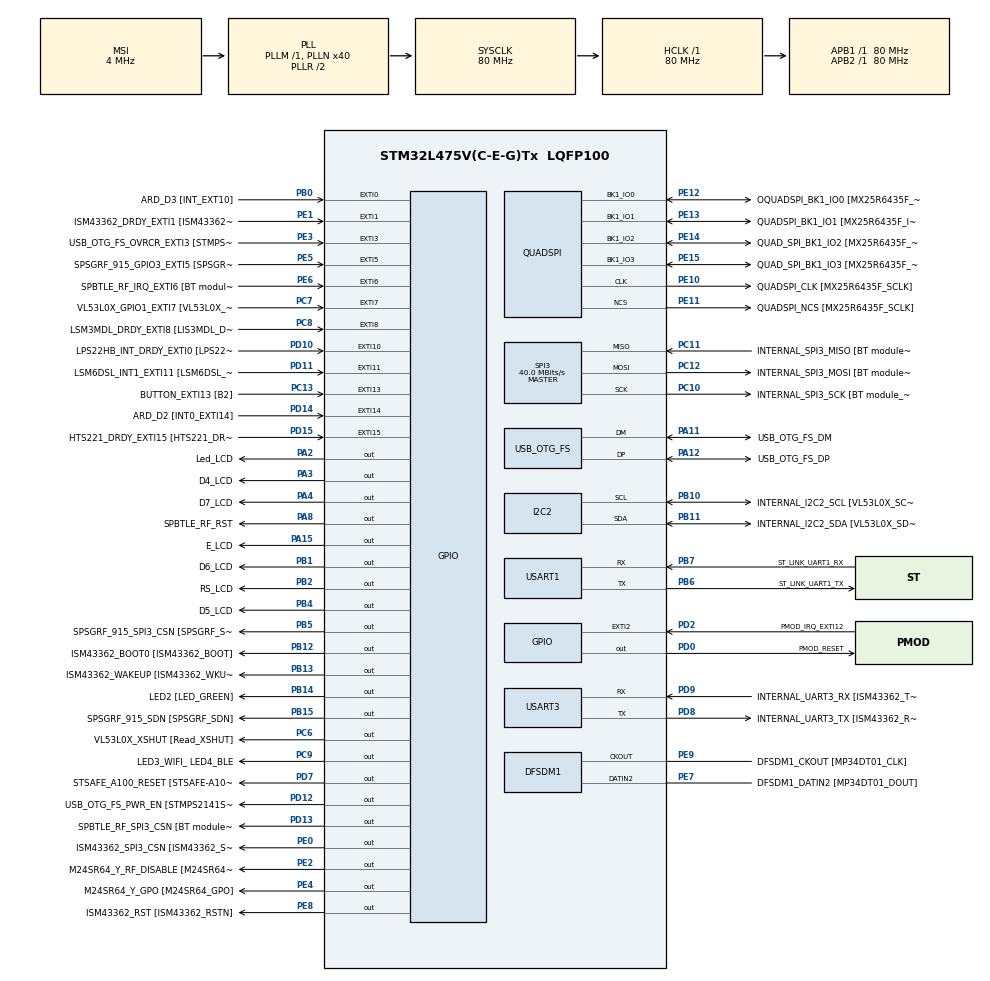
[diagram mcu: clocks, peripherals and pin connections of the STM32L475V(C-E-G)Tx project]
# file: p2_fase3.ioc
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Mcu.Family=STM32L4
Mcu.Name=STM32L475V(C-E-G)Tx
Mcu.Package=LQFP100
NVIC.EXTI15_10_IRQn=true\:0\:0\:false\:false\:true\:true\:true
NVIC.EXTI9_5_IRQn=true\:0\:0\:false\:false\:true\:true\:true
NVIC.PriorityGroup=NVIC_PRIORITYGROUP_4
PA0.GPIO_Label=ARD_D1 [UART4_TX]
PA0.Signal=UART4_TX
PA1.GPIO_Label=ARD_D0 [UART4_RX]
PA1.Signal=UART4_RX
PA10.GPIO_Label=USB_OTG_FS_ID
PA10.Signal=USB_OTG_FS_ID
PA11.GPIO_Label=USB_OTG_FS_DM
PA11.Mode=Device_Only
PA11.Signal=USB_OTG_FS_DM
PA12.GPIO_Label=USB_OTG_FS_DP
PA12.Mode=Device_Only
PA12.Signal=USB_OTG_FS_DP
PA13\ (JTMS-SWDIO).GPIO_Label=SYS_JTMS_SWDIO
PA13\ (JTMS-SWDIO).Mode=Serial_Wire
PA13\ (JTMS-SWDIO).Signal=SYS_JTMS-SWDIO
PA14\ (JTCK-SWCLK).GPIO_Label=SYS_JTCK_SWCLK
PA14\ (JTCK-SWCLK).Mode=Serial_Wire
PA14\ (JTCK-SWCLK).Signal=SYS_JTCK-SWCLK
PA15\ (JTDI).GPIO_Label=E_LCD
PA15\ (JTDI).Signal=GPIO_Output
PA2.GPIO_Label=Led_LCD
PA2.Signal=GPIO_Output
PA3.GPIO_Label=D4_LCD
PA3.Signal=GPIO_Output
PA4.GPIO_Label=D7_LCD
PA4.Signal=GPIO_Output
PA5.GPIO_Label=ARD_D13 [SPI1_SCK]
PA5.Signal=SPI1_SCK
PA6.GPIO_Label=ARD_D12 [SPI1_MISO]
PA6.Signal=SPI1_MISO
PA7.GPIO_Label=ARD_D11 [SPI1_MOSI]
PA7.Signal=SPI1_MOSI
PA8.GPIO_Label=SPBTLE_RF_RST
PA8.Signal=GPIO_Output
PA9.GPIO_Label=USB_OTG_FS_VBUS [STMPS2141STR_OUT]
PA9.Signal=USB_OTG_FS_VBUS
PB0.GPIO_Label=ARD_D3 [INT_EXT10]
PB0.Signal=GPXTI0
PB1.GPIO_Label=D6_LCD
PB1.Signal=GPIO_Output
PB10.GPIO_Label=INTERNAL_I2C2_SCL [VL53L0X_SCL]
PB10.Mode=I2C
PB10.Signal=I2C2_SCL
PB11.GPIO_Label=INTERNAL_I2C2_SDA [VL53L0X_SDA]
PB11.Mode=I2C
PB11.Signal=I2C2_SDA
PB12.GPIO_Label=ISM43362_BOOT0 [ISM43362_BOOT]
PB12.Signal=GPIO_Output
PB13.GPIO_Label=ISM43362_WAKEUP [ISM43362_WKUP]
PB13.Signal=GPIO_Output
PB14.GPIO_Label=LED2 [LED_GREEN]
PB14.Signal=GPIO_Output
PB15.GPIO_Label=SPSGRF_915_SDN [SPSGRF_SDN]
PB15.Signal=GPIO_Output
PB2.GPIO_Label=RS_LCD
PB2.Signal=GPIO_Output
PB3\ (JTDO-TRACESWO).GPIO_Label=SYS_JTD0_SWO
PB3\ (JTDO-TRACESWO).Signal=SYS_JTDO-SWO
PB4\ (NJTRST).GPIO_Label=D5_LCD
PB4\ (NJTRST).Signal=GPIO_Output
PB5.GPIO_Label=SPSGRF_915_SPI3_CSN [SPSGRF_SPI_CS]
PB5.PinState=GPIO_PIN_SET
PB5.Signal=GPIO_Output
PB6.GPIO_Label=ST_LINK_UART1_TX
PB6.Mode=Asynchronous
PB6.Signal=USART1_TX
PB7.GPIO_Label=ST_LINK_UART1_RX
PB7.Mode=Asynchronous
PB7.Signal=USART1_RX
PB8.GPIO_Label=ARD_D15 [I2C1_SCL]
PB8.Signal=I2C1_SCL
PB9.GPIO_Label=ARD_D14 [I2C1_SDA]
PB9.Signal=I2C1_SDA
PC0.GPIO_Label=ARD_A5 [ADC]
PC0.Signal=ADCx_IN1
PC1.GPIO_Label=ARD_A4 [ADC]
PC1.Signal=ADCx_IN2
PC10.GPIO_Label=INTERNAL_SPI3_SCK [BT module_SPI_SCLK] [ISM43362_SCK]
PC10.Mode=Full_Duplex_Master
PC10.Signal=SPI3_SCK
PC11.GPIO_Label=INTERNAL_SPI3_MISO [BT module_SPI_MISO] [ISM43362_MISO]
PC11.Mode=Full_Duplex_Master
PC11.Signal=SPI3_MISO
PC12.GPIO_Label=INTERNAL_SPI3_MOSI [BT module_SPI_MOSI] [ISM43362_MOSI]
PC12.Mode=Full_Duplex_Master
PC12.Signal=SPI3_MOSI
PC13.GPIO_Label=BUTTON_EXTI13 [B2]
PC13.GPIO_ModeDefaultEXTI=GPIO_MODE_IT_FALLING
PC13.Signal=GPXTI13
PC14-OSC32_IN\ (PC14).Mode=LSE-External-Oscillator
PC14-OSC32_IN\ (PC14).Signal=RCC_OSC32_IN
PC15-OSC32_OUT\ (PC15).Mode=LSE-External-Oscillator
PC15-OSC32_OUT\ (PC15).Signal=RCC_OSC32_OUT
PC2.GPIO_Label=ARD_A3 [ADC]
PC2.Signal=ADCx_IN3
PC3.GPIO_Label=ARD_A2 [ADC]
PC3.Signal=ADCx_IN4
PC4.GPIO_Label=ARD_A1 [ADC]
PC4.Signal=ADCx_IN13
PC5.GPIO_Label=ARD_A0 [ADC]
PC5.Signal=ADCx_IN14
PC6.GPIO_Label=VL53L0X_XSHUT [Read_XSHUT]
PC6.Signal=GPIO_Output
PC7.GPIO_Label=VL53L0X_GPIO1_EXTI7 [VL53L0X_GPIO1]
PC7.Signal=GPXTI7
PC8.GPIO_Label=LSM3MDL_DRDY_EXTI8 [LIS3MDL_DRDY]
PC8.Signal=GPXTI8
PC9.GPIO_Label=LED3_WIFI_ LED4_BLE
PC9.Signal=GPIO_Output
PD0.GPIO_Label=PMOD_RESET
PD0.Signal=GPIO_Output
PD1.GPIO_Label=PMOD_SPI2_SCK
PD1.Signal=SPI2_SCK
PD10.GPIO_Label=LPS22HB_INT_DRDY_EXTI0 [LPS22HB_INT_DRDY] 
PD10.Signal=GPXTI10
PD11.GPIO_Label=LSM6DSL_INT1_EXTI11 [LSM6DSL_INT1]
PD11.Signal=GPXTI11
PD12.GPIO_Label=USB_OTG_FS_PWR_EN [STMPS2141STR_EN]
PD12.Signal=GPIO_Output
PD13.GPIO_Label=SPBTLE_RF_SPI3_CSN [BT module_SPI_CS]
PD13.PinState=GPIO_PIN_SET
PD13.Signal=GPIO_Output
PD14.GPIO_Label=ARD_D2 [INT0_EXTI14]
PD14.Signal=GPXTI14
PD15.GPIO_Label=HTS221_DRDY_EXTI15 [HTS221_DRDY]
PD15.Signal=GPXTI15
PD2.GPIO_Label=PMOD_IRQ_EXTI12
PD2.Signal=GPXTI2
PD3.GPIO_Label=PMOD_UART2_CTS
PD3.Signal=USART2_CTS
PD4.GPIO_Label=PMOD_UART2_RTS
PD4.Signal=USART2_RTS
PD5.GPIO_Label=PMOD_UART2_TX
PD5.Signal=USART2_TX
PD6.GPIO_Label=PMOD_UART2_RX
PD6.Signal=USART2_RX
PD7.GPIO_Label=STSAFE_A100_RESET [STSAFE-A100_RESET]
PD7.Signal=GPIO_Output
PD8.GPIO_Label=INTERNAL_UART3_TX [ISM43362_RX]
PD8.Mode=Asynchronous
PD8.Signal=USART3_TX
PD9.GPIO_Label=INTERNAL_UART3_RX [ISM43362_TX]
PD9.Mode=Asynchronous
PD9.Signal=USART3_RX
PE0.GPIO_Label=ISM43362_SPI3_CSN [ISM43362_SSN]
PE0.PinState=GPIO_PIN_SET
PE0.Signal=GPIO_Output
PE1.GPIO_Label=ISM43362_DRDY_EXTI1 [ISM43362_DATARDY]
PE1.Signal=GPXTI1
PE10.GPIO_Label=QUADSPI_CLK [MX25R6435F_SCLK]
PE10.Mode=Single Bank
PE10.Signal=QUADSPI_CLK
PE11.GPIO_Label=QUADSPI_NCS [MX25R6435F_SCLK]
PE11.Mode=Single Bank
PE11.Signal=QUADSPI_NCS
PE12.GPIO_Label=OQUADSPI_BK1_IO0 [MX25R6435F_IO0]
PE12.Mode=Single Bank
PE12.Signal=QUADSPI_BK1_IO0
PE13.GPIO_Label=QUADSPI_BK1_IO1 [MX25R6435F_IO1]
PE13.Mode=Single Bank
PE13.Signal=QUADSPI_BK1_IO1
PE14.GPIO_Label=QUAD_SPI_BK1_IO2 [MX25R6435F_IO2]
PE14.Mode=Single Bank
PE14.Signal=QUADSPI_BK1_IO2
PE15.GPIO_Label=QUAD_SPI_BK1_IO3 [MX25R6435F_IO3]
PE15.Mode=Single Bank
PE15.Signal=QUADSPI_BK1_IO3
PE2.GPIO_Label=M24SR64_Y_RF_DISABLE [M24SR64_RFDIS]
PE2.Signal=GPIO_Output
PE3.GPIO_Label=USB_OTG_FS_OVRCR_EXTI3 [STMPS2141STR_FAULT]
PE3.Signal=GPXTI3
PE4.GPIO_Label=M24SR64_Y_GPO [M24SR64_GPO]
PE4.Signal=GPIO_Output
PE5.GPIO_Label=SPSGRF_915_GPIO3_EXTI5 [SPSGRF_GPIO_3]
PE5.Signal=GPXTI5
PE6.GPIO_Label=SPBTLE_RF_IRQ_EXTI6 [BT module_SPI_IRQ]
PE6.Signal=GPXTI6
PE7.GPIO_Label=DFSDM1_DATIN2 [MP34DT01_DOUT]
PE7.Signal=S_DATAIN2DFSDM1
PE8.GPIO_Label=ISM43362_RST [ISM43362_RSTN]
PE8.Signal=GPIO_Output
PE9.GPIO_Label=DFSDM1_CKOUT [MP34DT01_CLK]
PE9.Signal=S_CKOUTDFSDM1
ProjectManager.HeapSize=0x200
ProjectManager.StackSize=0x400
ProjectManager.TargetToolchain=STM32CubeIDE
RCC.ADCFreq_Value=48000000
RCC.AHBFreq_Value=80000000
RCC.APB1Freq_Value=80000000
RCC.APB1TimFreq_Value=80000000
RCC.APB2Freq_Value=80000000
RCC.APB2TimFreq_Value=80000000
RCC.CortexFreq_Value=80000000
RCC.HCLKFreq_Value=80000000
RCC.HSE_VALUE=8000000
RCC.HSI_VALUE=16000000
RCC.MSI_VALUE=4000000
RCC.PLLN=40
RCC.PLLSAI1N=24
RCC.SYSCLKFreq_VALUE=80000000
RCC.SYSCLKSource=RCC_SYSCLKSOURCE_PLLCLK
RCC.USBFreq_Value=48000000
RCC.VCOOutputFreq_Value=160000000
SH.ADCx_IN1.0=ADC1_IN1
SH.ADCx_IN13.0=ADC1_IN13
SH.ADCx_IN14.0=ADC1_IN14
SH.ADCx_IN2.0=ADC1_IN2
SH.ADCx_IN3.0=ADC1_IN3
SH.ADCx_IN4.0=ADC1_IN4
SH.S_CKOUTDFSDM1.0=DFSDM1_CKOUT,CKOUT
SH.S_CKOUTDFSDM1.1=DFSDM1_CKOUT,PDM_SPI_Input_from_ch12_and_Internal_Clock
SH.S_DATAIN2DFSDM1.0=DFSDM1_DATIN2,PDM_SPI_Input_from_ch12_and_Internal_Clock
SPI3.CalculateBaudRate=40.0 MBits/s
SPI3.Direction=SPI_DIRECTION_2LINES
SPI3.Mode=SPI_MODE_MASTER
SPI3.VirtualType=VM_MASTER
USART1.VirtualMode-Asynchronous=VM_ASYNC
USART3.VirtualMode-Asynchronous=VM_ASYNC
USB_OTG_FS.VirtualMode=Device_Only
board=B-L475E-IOT01A1

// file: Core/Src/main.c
/* USER CODE BEGIN Header */
/**
  ******************************************************************************
  * @file           : main.c
  * @brief          : Main program body
  ******************************************************************************
  * @attention
  *
  * <h2><center>&copy; Copyright (c) 2024 STMicroelectronics.
  * All rights reserved.</center></h2>
  *
  * This software component is licensed by ST under BSD 3-Clause license,
  * the "License"; You may not use this file except in compliance with the
  * License. You may obtain a copy of the License at:
  *                        opensource.org/licenses/BSD-3-Clause
  *
  ******************************************************************************
  */
/* USER CODE END Header */

#include "main.h"

/* USER CODE BEGIN Includes */
#include "hd44780.h"
/* USER CODE END Includes */

DFSDM_Channel_HandleTypeDef hdfsdm1_channel1;

I2C_HandleTypeDef hi2c2;

QSPI_HandleTypeDef hqspi;

SPI_HandleTypeDef hspi3;

UART_HandleTypeDef huart1;
UART_HandleTypeDef huart3;

PCD_HandleTypeDef hpcd_USB_OTG_FS;

void SystemClock_Config(void);
static void MX_GPIO_Init(void);
static void MX_DFSDM1_Init(void);
static void MX_I2C2_Init(void);
static void MX_QUADSPI_Init(void);
static void MX_SPI3_Init(void);
static void MX_USART1_UART_Init(void);
static void MX_USART3_UART_Init(void);
static void MX_USB_OTG_FS_PCD_Init(void);

int main(void)
{

  /* MCU Configuration--------------------------------------------------------*/

  /* Reset of all peripherals, Initializes the Flash interface and the Systick. */
  HAL_Init();

  /* Configure the system clock */
  SystemClock_Config();

  /* Initialize all configured peripherals */
  MX_GPIO_Init();
  MX_DFSDM1_Init();
  MX_I2C2_Init();
  MX_QUADSPI_Init();
  MX_SPI3_Init();
  MX_USART1_UART_Init();
  MX_USART3_UART_Init();
  MX_USB_OTG_FS_PCD_Init();
  /* USER CODE BEGIN 2 */
  HAL_GPIO_WritePin(GPIOA, Led_LCD_Pin, GPIO_PIN_SET); // pone a uno el pin Led_LCD
  lcd_reset(); // reinicia el display LCD, colocándolo en un estado inicial conocido
  lcd_display_settings(1,0,0); // activa el cursor
  lcd_clear(); // borra el contenido actual en el display LCD
  lcd_print("Hola Dimas"); // muestra el mensaje "Hola mundo" en el display LCD

  lcd_cgram_address(0); // se selecciona la dirección 0 de la CGRAM, patrón con código 0
  lcd_write(0x15, 1); //se va cargando con los bytes del patrón de cada fila de la CGRAM
  lcd_write(0x15, 1);
  lcd_write(0xe, 1);
  lcd_write(0x4, 1);
  lcd_write(0x4, 1);
  lcd_write(0xa, 1);
  lcd_write(0x11, 1);
  lcd_write(0x00, 1);
  lcd_cgram_address(8); //se selecciona la dirección 8 de la CGRAM, patrón con código 1
  lcd_write(0x4, 1); // se va cargando con los bytes del patrón de cada fila de la CGRAM
  lcd_write(0x4, 1);
  lcd_write(0xe, 1);
  lcd_write(0x15, 1);
  lcd_write(0x15, 1);
  lcd_write(0xa, 1);
  lcd_write(0xa, 1);
  lcd_write(0x00, 1);
  lcd_display_address(0); //Vuelve a direccionar la DDRAM para visualizar datos en pantalla

  /* USER CODE END 2 */

  /* Infinite loop */
  /* USER CODE BEGIN WHILE */
  while (1)
  {
	  moveToXY(1,7); //sitúa el cursor en la posición fila 1 columna 7, primer muñeco
	  lcd_write(0,1); //escribe el nuevo patrón 0 en la DDRAM
	  moveToXY(1,8); //sitúa el cursor en la posición fila 1 columna 7, segundo muñeco
	  lcd_write(0,1);
	  HAL_Delay(1000); //retraso de 1 segundo para dejar ver la figura en pantalla

	  moveToXY(1,7);
	  lcd_write(1,1); //escribe el nuevo patrón 0 en la DDRAM
	  moveToXY(1,8);
	  lcd_write(1,1);
	  HAL_Delay(1000);
    /* USER CODE END WHILE */

  }
}

void SystemClock_Config(void)
{
  RCC_OscInitTypeDef RCC_OscInitStruct = {0};
  RCC_ClkInitTypeDef RCC_ClkInitStruct = {0};
  RCC_PeriphCLKInitTypeDef PeriphClkInit = {0};

  /** Configure LSE Drive Capability
  */
  HAL_PWR_EnableBkUpAccess();
  __HAL_RCC_LSEDRIVE_CONFIG(RCC_LSEDRIVE_LOW);
  /** Initializes the CPU, AHB and APB busses clocks
  */
  RCC_OscInitStruct.OscillatorType = RCC_OSCILLATORTYPE_LSE|RCC_OSCILLATORTYPE_MSI;
  RCC_OscInitStruct.LSEState = RCC_LSE_ON;
  RCC_OscInitStruct.MSIState = RCC_MSI_ON;
  RCC_OscInitStruct.MSICalibrationValue = 0;
  RCC_OscInitStruct.MSIClockRange = RCC_MSIRANGE_6;
  RCC_OscInitStruct.PLL.PLLState = RCC_PLL_ON;
  RCC_OscInitStruct.PLL.PLLSource = RCC_PLLSOURCE_MSI;
  RCC_OscInitStruct.PLL.PLLM = 1;
  RCC_OscInitStruct.PLL.PLLN = 40;
  RCC_OscInitStruct.PLL.PLLP = RCC_PLLP_DIV7;
  RCC_OscInitStruct.PLL.PLLQ = RCC_PLLQ_DIV2;
  RCC_OscInitStruct.PLL.PLLR = RCC_PLLR_DIV2;
  if (HAL_RCC_OscConfig(&RCC_OscInitStruct) != HAL_OK)
  {
    Error_Handler();
  }
  /** Initializes the CPU, AHB and APB busses clocks
  */
  RCC_ClkInitStruct.ClockType = RCC_CLOCKTYPE_HCLK|RCC_CLOCKTYPE_SYSCLK
                              |RCC_CLOCKTYPE_PCLK1|RCC_CLOCKTYPE_PCLK2;
  RCC_ClkInitStruct.SYSCLKSource = RCC_SYSCLKSOURCE_PLLCLK;
  RCC_ClkInitStruct.AHBCLKDivider = RCC_SYSCLK_DIV1;
  RCC_ClkInitStruct.APB1CLKDivider = RCC_HCLK_DIV1;
  RCC_ClkInitStruct.APB2CLKDivider = RCC_HCLK_DIV1;

  if (HAL_RCC_ClockConfig(&RCC_ClkInitStruct, FLASH_LATENCY_4) != HAL_OK)
  {
    Error_Handler();
  }
  PeriphClkInit.PeriphClockSelection = RCC_PERIPHCLK_USART1|RCC_PERIPHCLK_USART3
                              |RCC_PERIPHCLK_I2C2|RCC_PERIPHCLK_DFSDM1
                              |RCC_PERIPHCLK_USB;
  PeriphClkInit.Usart1ClockSelection = RCC_USART1CLKSOURCE_PCLK2;
  PeriphClkInit.Usart3ClockSelection = RCC_USART3CLKSOURCE_PCLK1;
  PeriphClkInit.I2c2ClockSelection = RCC_I2C2CLKSOURCE_PCLK1;
  PeriphClkInit.Dfsdm1ClockSelection = RCC_DFSDM1CLKSOURCE_PCLK;
  PeriphClkInit.UsbClockSelection = RCC_USBCLKSOURCE_PLLSAI1;
  PeriphClkInit.PLLSAI1.PLLSAI1Source = RCC_PLLSOURCE_MSI;
  PeriphClkInit.PLLSAI1.PLLSAI1M = 1;
  PeriphClkInit.PLLSAI1.PLLSAI1N = 24;
  PeriphClkInit.PLLSAI1.PLLSAI1P = RCC_PLLP_DIV7;
  PeriphClkInit.PLLSAI1.PLLSAI1Q = RCC_PLLQ_DIV2;
  PeriphClkInit.PLLSAI1.PLLSAI1R = RCC_PLLR_DIV2;
  PeriphClkInit.PLLSAI1.PLLSAI1ClockOut = RCC_PLLSAI1_48M2CLK;
  if (HAL_RCCEx_PeriphCLKConfig(&PeriphClkInit) != HAL_OK)
  {
    Error_Handler();
  }
  /** Configure the main internal regulator output voltage
  */
  if (HAL_PWREx_ControlVoltageScaling(PWR_REGULATOR_VOLTAGE_SCALE1) != HAL_OK)
  {
    Error_Handler();
  }
  /** Enable MSI Auto calibration
  */
  HAL_RCCEx_EnableMSIPLLMode();
}

static void MX_DFSDM1_Init(void)
{

  hdfsdm1_channel1.Instance = DFSDM1_Channel1;
  hdfsdm1_channel1.Init.OutputClock.Activation = ENABLE;
  hdfsdm1_channel1.Init.OutputClock.Selection = DFSDM_CHANNEL_OUTPUT_CLOCK_SYSTEM;
  hdfsdm1_channel1.Init.OutputClock.Divider = 2;
  hdfsdm1_channel1.Init.Input.Multiplexer = DFSDM_CHANNEL_EXTERNAL_INPUTS;
  hdfsdm1_channel1.Init.Input.DataPacking = DFSDM_CHANNEL_STANDARD_MODE;
  hdfsdm1_channel1.Init.Input.Pins = DFSDM_CHANNEL_FOLLOWING_CHANNEL_PINS;
  hdfsdm1_channel1.Init.SerialInterface.Type = DFSDM_CHANNEL_SPI_RISING;
  hdfsdm1_channel1.Init.SerialInterface.SpiClock = DFSDM_CHANNEL_SPI_CLOCK_INTERNAL;
  hdfsdm1_channel1.Init.Awd.FilterOrder = DFSDM_CHANNEL_FASTSINC_ORDER;
  hdfsdm1_channel1.Init.Awd.Oversampling = 1;
  hdfsdm1_channel1.Init.Offset = 0;
  hdfsdm1_channel1.Init.RightBitShift = 0x00;
  if (HAL_DFSDM_ChannelInit(&hdfsdm1_channel1) != HAL_OK)
  {
    Error_Handler();
  }

}

static void MX_I2C2_Init(void)
{

  hi2c2.Instance = I2C2;
  hi2c2.Init.Timing = 0x00000E14;
  hi2c2.Init.OwnAddress1 = 0;
  hi2c2.Init.AddressingMode = I2C_ADDRESSINGMODE_7BIT;
  hi2c2.Init.DualAddressMode = I2C_DUALADDRESS_DISABLE;
  hi2c2.Init.OwnAddress2 = 0;
  hi2c2.Init.OwnAddress2Masks = I2C_OA2_NOMASK;
  hi2c2.Init.GeneralCallMode = I2C_GENERALCALL_DISABLE;
  hi2c2.Init.NoStretchMode = I2C_NOSTRETCH_DISABLE;
  if (HAL_I2C_Init(&hi2c2) != HAL_OK)
  {
    Error_Handler();
  }
  /** Configure Analogue filter
  */
  if (HAL_I2CEx_ConfigAnalogFilter(&hi2c2, I2C_ANALOGFILTER_ENABLE) != HAL_OK)
  {
    Error_Handler();
  }
  /** Configure Digital filter
  */
  if (HAL_I2CEx_ConfigDigitalFilter(&hi2c2, 0) != HAL_OK)
  {
    Error_Handler();
  }

}

static void MX_QUADSPI_Init(void)
{

  /* QUADSPI parameter configuration*/
  hqspi.Instance = QUADSPI;
  hqspi.Init.ClockPrescaler = 255;
  hqspi.Init.FifoThreshold = 1;
  hqspi.Init.SampleShifting = QSPI_SAMPLE_SHIFTING_NONE;
  hqspi.Init.FlashSize = 1;
  hqspi.Init.ChipSelectHighTime = QSPI_CS_HIGH_TIME_1_CYCLE;
  hqspi.Init.ClockMode = QSPI_CLOCK_MODE_0;
  if (HAL_QSPI_Init(&hqspi) != HAL_OK)
  {
    Error_Handler();
  }

}

static void MX_SPI3_Init(void)
{

  /* SPI3 parameter configuration*/
  hspi3.Instance = SPI3;
  hspi3.Init.Mode = SPI_MODE_MASTER;
  hspi3.Init.Direction = SPI_DIRECTION_2LINES;
  hspi3.Init.DataSize = SPI_DATASIZE_4BIT;
  hspi3.Init.CLKPolarity = SPI_POLARITY_LOW;
  hspi3.Init.CLKPhase = SPI_PHASE_1EDGE;
  hspi3.Init.NSS = SPI_NSS_SOFT;
  hspi3.Init.BaudRatePrescaler = SPI_BAUDRATEPRESCALER_2;
  hspi3.Init.FirstBit = SPI_FIRSTBIT_MSB;
  hspi3.Init.TIMode = SPI_TIMODE_DISABLE;
  hspi3.Init.CRCCalculation = SPI_CRCCALCULATION_DISABLE;
  hspi3.Init.CRCPolynomial = 7;
  hspi3.Init.CRCLength = SPI_CRC_LENGTH_DATASIZE;
  hspi3.Init.NSSPMode = SPI_NSS_PULSE_ENABLE;
  if (HAL_SPI_Init(&hspi3) != HAL_OK)
  {
    Error_Handler();
  }

}

static void MX_USART1_UART_Init(void)
{

  huart1.Instance = USART1;
  huart1.Init.BaudRate = 115200;
  huart1.Init.WordLength = UART_WORDLENGTH_8B;
  huart1.Init.StopBits = UART_STOPBITS_1;
  huart1.Init.Parity = UART_PARITY_NONE;
  huart1.Init.Mode = UART_MODE_TX_RX;
  huart1.Init.HwFlowCtl = UART_HWCONTROL_NONE;
  huart1.Init.OverSampling = UART_OVERSAMPLING_16;
  huart1.Init.OneBitSampling = UART_ONE_BIT_SAMPLE_DISABLE;
  huart1.AdvancedInit.AdvFeatureInit = UART_ADVFEATURE_NO_INIT;
  if (HAL_UART_Init(&huart1) != HAL_OK)
  {
    Error_Handler();
  }

}

static void MX_USART3_UART_Init(void)
{

  huart3.Instance = USART3;
  huart3.Init.BaudRate = 115200;
  huart3.Init.WordLength = UART_WORDLENGTH_8B;
  huart3.Init.StopBits = UART_STOPBITS_1;
  huart3.Init.Parity = UART_PARITY_NONE;
  huart3.Init.Mode = UART_MODE_TX_RX;
  huart3.Init.HwFlowCtl = UART_HWCONTROL_NONE;
  huart3.Init.OverSampling = UART_OVERSAMPLING_16;
  huart3.Init.OneBitSampling = UART_ONE_BIT_SAMPLE_DISABLE;
  huart3.AdvancedInit.AdvFeatureInit = UART_ADVFEATURE_NO_INIT;
  if (HAL_UART_Init(&huart3) != HAL_OK)
  {
    Error_Handler();
  }

}

static void MX_USB_OTG_FS_PCD_Init(void)
{

  hpcd_USB_OTG_FS.Instance = USB_OTG_FS;
  hpcd_USB_OTG_FS.Init.dev_endpoints = 6;
  hpcd_USB_OTG_FS.Init.speed = PCD_SPEED_FULL;
  hpcd_USB_OTG_FS.Init.phy_itface = PCD_PHY_EMBEDDED;
  hpcd_USB_OTG_FS.Init.Sof_enable = DISABLE;
  hpcd_USB_OTG_FS.Init.low_power_enable = DISABLE;
  hpcd_USB_OTG_FS.Init.lpm_enable = DISABLE;
  hpcd_USB_OTG_FS.Init.battery_charging_enable = DISABLE;
  hpcd_USB_OTG_FS.Init.use_dedicated_ep1 = DISABLE;
  hpcd_USB_OTG_FS.Init.vbus_sensing_enable = DISABLE;
  if (HAL_PCD_Init(&hpcd_USB_OTG_FS) != HAL_OK)
  {
    Error_Handler();
  }

}

static void MX_GPIO_Init(void)
{
  GPIO_InitTypeDef GPIO_InitStruct = {0};

  /* GPIO Ports Clock Enable */
  __HAL_RCC_GPIOE_CLK_ENABLE();
  __HAL_RCC_GPIOC_CLK_ENABLE();
  __HAL_RCC_GPIOA_CLK_ENABLE();
  __HAL_RCC_GPIOB_CLK_ENABLE();
  __HAL_RCC_GPIOD_CLK_ENABLE();

  /*Configure GPIO pin Output Level */
  HAL_GPIO_WritePin(GPIOE, M24SR64_Y_RF_DISABLE_Pin|M24SR64_Y_GPO_Pin|ISM43362_RST_Pin, GPIO_PIN_RESET);

  /*Configure GPIO pin Output Level */
  HAL_GPIO_WritePin(GPIOA, Led_LCD_Pin|D4_LCD_Pin|D7_LCD_Pin|SPBTLE_RF_RST_Pin
                          |E_LCD_Pin, GPIO_PIN_RESET);

  /*Configure GPIO pin Output Level */
  HAL_GPIO_WritePin(GPIOB, D6_LCD_Pin|RS_LCD_Pin|ISM43362_BOOT0_Pin|ISM43362_WAKEUP_Pin
                          |LED2_Pin|SPSGRF_915_SDN_Pin|D5_LCD_Pin, GPIO_PIN_RESET);

  /*Configure GPIO pin Output Level */
  HAL_GPIO_WritePin(GPIOD, USB_OTG_FS_PWR_EN_Pin|PMOD_RESET_Pin|STSAFE_A100_RESET_Pin, GPIO_PIN_RESET);

  /*Configure GPIO pin Output Level */
  HAL_GPIO_WritePin(SPBTLE_RF_SPI3_CSN_GPIO_Port, SPBTLE_RF_SPI3_CSN_Pin, GPIO_PIN_SET);

  /*Configure GPIO pin Output Level */
  HAL_GPIO_WritePin(GPIOC, VL53L0X_XSHUT_Pin|LED3_WIFI__LED4_BLE_Pin, GPIO_PIN_RESET);

  /*Configure GPIO pin Output Level */
  HAL_GPIO_WritePin(SPSGRF_915_SPI3_CSN_GPIO_Port, SPSGRF_915_SPI3_CSN_Pin, GPIO_PIN_SET);

  /*Configure GPIO pin Output Level */
  HAL_GPIO_WritePin(ISM43362_SPI3_CSN_GPIO_Port, ISM43362_SPI3_CSN_Pin, GPIO_PIN_SET);

  /*Configure GPIO pins : M24SR64_Y_RF_DISABLE_Pin M24SR64_Y_GPO_Pin ISM43362_RST_Pin ISM43362_SPI3_CSN_Pin */
  GPIO_InitStruct.Pin = M24SR64_Y_RF_DISABLE_Pin|M24SR64_Y_GPO_Pin|ISM43362_RST_Pin|ISM43362_SPI3_CSN_Pin;
  GPIO_InitStruct.Mode = GPIO_MODE_OUTPUT_PP;
  GPIO_InitStruct.Pull = GPIO_NOPULL;
  GPIO_InitStruct.Speed = GPIO_SPEED_FREQ_LOW;
  HAL_GPIO_Init(GPIOE, &GPIO_InitStruct);

  /*Configure GPIO pins : USB_OTG_FS_OVRCR_EXTI3_Pin SPSGRF_915_GPIO3_EXTI5_Pin SPBTLE_RF_IRQ_EXTI6_Pin ISM43362_DRDY_EXTI1_Pin */
  GPIO_InitStruct.Pin = USB_OTG_FS_OVRCR_EXTI3_Pin|SPSGRF_915_GPIO3_EXTI5_Pin|SPBTLE_RF_IRQ_EXTI6_Pin|ISM43362_DRDY_EXTI1_Pin;
  GPIO_InitStruct.Mode = GPIO_MODE_IT_RISING;
  GPIO_InitStruct.Pull = GPIO_NOPULL;
  HAL_GPIO_Init(GPIOE, &GPIO_InitStruct);

  /*Configure GPIO pin : BUTTON_EXTI13_Pin */
  GPIO_InitStruct.Pin = BUTTON_EXTI13_Pin;
  GPIO_InitStruct.Mode = GPIO_MODE_IT_FALLING;
  GPIO_InitStruct.Pull = GPIO_NOPULL;
  HAL_GPIO_Init(BUTTON_EXTI13_GPIO_Port, &GPIO_InitStruct);

  /*Configure GPIO pins : ARD_A5_Pin ARD_A4_Pin ARD_A3_Pin ARD_A2_Pin
                           ARD_A1_Pin ARD_A0_Pin */
  GPIO_InitStruct.Pin = ARD_A5_Pin|ARD_A4_Pin|ARD_A3_Pin|ARD_A2_Pin
                          |ARD_A1_Pin|ARD_A0_Pin;
  GPIO_InitStruct.Mode = GPIO_MODE_ANALOG_ADC_CONTROL;
  GPIO_InitStruct.Pull = GPIO_NOPULL;
  HAL_GPIO_Init(GPIOC, &GPIO_InitStruct);

  /*Configure GPIO pins : ARD_D1_Pin ARD_D0_Pin */
  GPIO_InitStruct.Pin = ARD_D1_Pin|ARD_D0_Pin;
  GPIO_InitStruct.Mode = GPIO_MODE_AF_PP;
  GPIO_InitStruct.Pull = GPIO_NOPULL;
  GPIO_InitStruct.Speed = GPIO_SPEED_FREQ_VERY_HIGH;
  GPIO_InitStruct.Alternate = GPIO_AF8_UART4;
  HAL_GPIO_Init(GPIOA, &GPIO_InitStruct);

  /*Configure GPIO pins : Led_LCD_Pin D4_LCD_Pin D7_LCD_Pin SPBTLE_RF_RST_Pin
                           E_LCD_Pin */
  GPIO_InitStruct.Pin = Led_LCD_Pin|D4_LCD_Pin|D7_LCD_Pin|SPBTLE_RF_RST_Pin
                          |E_LCD_Pin;
  GPIO_InitStruct.Mode = GPIO_MODE_OUTPUT_PP;
  GPIO_InitStruct.Pull = GPIO_NOPULL;
  GPIO_InitStruct.Speed = GPIO_SPEED_FREQ_LOW;
  HAL_GPIO_Init(GPIOA, &GPIO_InitStruct);

  /*Configure GPIO pins : ARD_D13_Pin ARD_D12_Pin ARD_D11_Pin */
  GPIO_InitStruct.Pin = ARD_D13_Pin|ARD_D12_Pin|ARD_D11_Pin;
  GPIO_InitStruct.Mode = GPIO_MODE_AF_PP;
  GPIO_InitStruct.Pull = GPIO_NOPULL;
  GPIO_InitStruct.Speed = GPIO_SPEED_FREQ_VERY_HIGH;
  GPIO_InitStruct.Alternate = GPIO_AF5_SPI1;
  HAL_GPIO_Init(GPIOA, &GPIO_InitStruct);

  /*Configure GPIO pin : ARD_D3_Pin */
  GPIO_InitStruct.Pin = ARD_D3_Pin;
  GPIO_InitStruct.Mode = GPIO_MODE_IT_RISING;
  GPIO_InitStruct.Pull = GPIO_NOPULL;
  HAL_GPIO_Init(ARD_D3_GPIO_Port, &GPIO_InitStruct);

  /*Configure GPIO pins : D6_LCD_Pin RS_LCD_Pin ISM43362_BOOT0_Pin ISM43362_WAKEUP_Pin
                           LED2_Pin SPSGRF_915_SDN_Pin D5_LCD_Pin SPSGRF_915_SPI3_CSN_Pin */
  GPIO_InitStruct.Pin = D6_LCD_Pin|RS_LCD_Pin|ISM43362_BOOT0_Pin|ISM43362_WAKEUP_Pin
                          |LED2_Pin|SPSGRF_915_SDN_Pin|D5_LCD_Pin|SPSGRF_915_SPI3_CSN_Pin;
  GPIO_InitStruct.Mode = GPIO_MODE_OUTPUT_PP;
  GPIO_InitStruct.Pull = GPIO_NOPULL;
  GPIO_InitStruct.Speed = GPIO_SPEED_FREQ_LOW;
  HAL_GPIO_Init(GPIOB, &GPIO_InitStruct);

  /*Configure GPIO pins : LPS22HB_INT_DRDY_EXTI0_Pin LSM6DSL_INT1_EXTI11_Pin ARD_D2_Pin HTS221_DRDY_EXTI15_Pin
                           PMOD_IRQ_EXTI12_Pin */
  GPIO_InitStruct.Pin = LPS22HB_INT_DRDY_EXTI0_Pin|LSM6DSL_INT1_EXTI11_Pin|ARD_D2_Pin|HTS221_DRDY_EXTI15_Pin
                          |PMOD_IRQ_EXTI12_Pin;
  GPIO_InitStruct.Mode = GPIO_MODE_IT_RISING;
  GPIO_InitStruct.Pull = GPIO_NOPULL;
  HAL_GPIO_Init(GPIOD, &GPIO_InitStruct);

  /*Configure GPIO pins : USB_OTG_FS_PWR_EN_Pin SPBTLE_RF_SPI3_CSN_Pin PMOD_RESET_Pin STSAFE_A100_RESET_Pin */
  GPIO_InitStruct.Pin = USB_OTG_FS_PWR_EN_Pin|SPBTLE_RF_SPI3_CSN_Pin|PMOD_RESET_Pin|STSAFE_A100_RESET_Pin;
  GPIO_InitStruct.Mode = GPIO_MODE_OUTPUT_PP;
  GPIO_InitStruct.Pull = GPIO_NOPULL;
  GPIO_InitStruct.Speed = GPIO_SPEED_FREQ_LOW;
  HAL_GPIO_Init(GPIOD, &GPIO_InitStruct);

  /*Configure GPIO pins : VL53L0X_XSHUT_Pin LED3_WIFI__LED4_BLE_Pin */
  GPIO_InitStruct.Pin = VL53L0X_XSHUT_Pin|LED3_WIFI__LED4_BLE_Pin;
  GPIO_InitStruct.Mode = GPIO_MODE_OUTPUT_PP;
  GPIO_InitStruct.Pull = GPIO_NOPULL;
  GPIO_InitStruct.Speed = GPIO_SPEED_FREQ_LOW;
  HAL_GPIO_Init(GPIOC, &GPIO_InitStruct);

  /*Configure GPIO pins : VL53L0X_GPIO1_EXTI7_Pin LSM3MDL_DRDY_EXTI8_Pin */
  GPIO_InitStruct.Pin = VL53L0X_GPIO1_EXTI7_Pin|LSM3MDL_DRDY_EXTI8_Pin;
  GPIO_InitStruct.Mode = GPIO_MODE_IT_RISING;
  GPIO_InitStruct.Pull = GPIO_NOPULL;
  HAL_GPIO_Init(GPIOC, &GPIO_InitStruct);

  /*Configure GPIO pin : PMOD_SPI2_SCK_Pin */
  GPIO_InitStruct.Pin = PMOD_SPI2_SCK_Pin;
  GPIO_InitStruct.Mode = GPIO_MODE_AF_PP;
  GPIO_InitStruct.Pull = GPIO_NOPULL;
  GPIO_InitStruct.Speed = GPIO_SPEED_FREQ_VERY_HIGH;
  GPIO_InitStruct.Alternate = GPIO_AF5_SPI2;
  HAL_GPIO_Init(PMOD_SPI2_SCK_GPIO_Port, &GPIO_InitStruct);

  /*Configure GPIO pins : PMOD_UART2_CTS_Pin PMOD_UART2_RTS_Pin PMOD_UART2_TX_Pin PMOD_UART2_RX_Pin */
  GPIO_InitStruct.Pin = PMOD_UART2_CTS_Pin|PMOD_UART2_RTS_Pin|PMOD_UART2_TX_Pin|PMOD_UART2_RX_Pin;
  GPIO_InitStruct.Mode = GPIO_MODE_AF_PP;
  GPIO_InitStruct.Pull = GPIO_NOPULL;
  GPIO_InitStruct.Speed = GPIO_SPEED_FREQ_VERY_HIGH;
  GPIO_InitStruct.Alternate = GPIO_AF7_USART2;
  HAL_GPIO_Init(GPIOD, &GPIO_InitStruct);

  /*Configure GPIO pins : ARD_D15_Pin ARD_D14_Pin */
  GPIO_InitStruct.Pin = ARD_D15_Pin|ARD_D14_Pin;
  GPIO_InitStruct.Mode = GPIO_MODE_AF_OD;
  GPIO_InitStruct.Pull = GPIO_PULLUP;
  GPIO_InitStruct.Speed = GPIO_SPEED_FREQ_VERY_HIGH;
  GPIO_InitStruct.Alternate = GPIO_AF4_I2C1;
  HAL_GPIO_Init(GPIOB, &GPIO_InitStruct);

  /* EXTI interrupt init*/
  HAL_NVIC_SetPriority(EXTI9_5_IRQn, 0, 0);
  HAL_NVIC_EnableIRQ(EXTI9_5_IRQn);

  HAL_NVIC_SetPriority(EXTI15_10_IRQn, 0, 0);
  HAL_NVIC_EnableIRQ(EXTI15_10_IRQn);

}

void Error_Handler(void)
{
}

/************************ (C) COPYRIGHT STMicroelectronics *****END OF FILE****/
